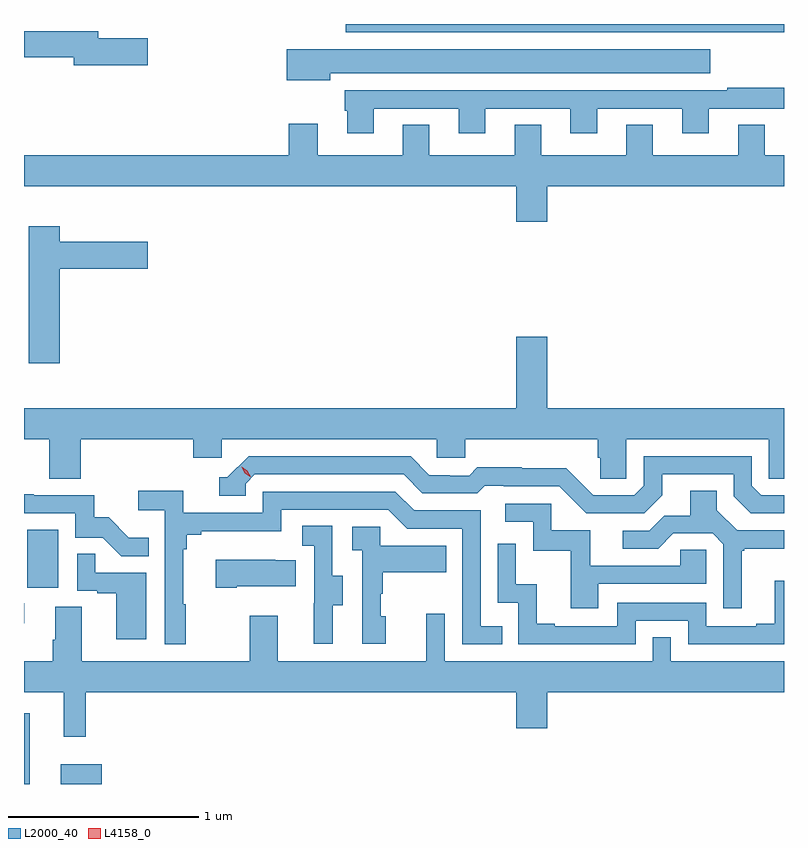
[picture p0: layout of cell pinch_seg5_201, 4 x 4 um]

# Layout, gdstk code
import gdstk
lib = gdstk.Library(unit=1e-6, precision=1e-09)
def R(c, l, rs):  # rectangles x0, y0, x1, y1
    for r in rs: c.add(gdstk.rectangle(r[:2], r[2:], *l))
def P(c, l, *ps):  # polygons
    for p in ps: c.add(gdstk.Polygon(p, *l))
L2000_40 = (2000, 40)
L4158_0 = (4158, 0)

pinch_seg5_201 = lib.new_cell('pinch_seg5_201')
R(pinch_seg5_201, L2000_40, [(1001.577,893.574,1001.608,893.947), (1001.771,893.574,1001.986,893.677), (1001.577,894.42,1001.578,894.525), (1001.594,894.606,1001.758,894.913), (1003.271,897.53,1005.577,897.574)])
P(pinch_seg5_201, L2000_40, [(1002.229,897.5),(1001.968,897.5),(1001.968,897.536),(1001.577,897.536),(1001.577,897.4),(1001.84,897.4),(1001.84,897.358),(1002.229,897.358)],
  [(1003.189,897.314),(1005.19,897.314),(1005.19,897.442),(1002.96,897.442),(1002.96,897.278),(1003.189,897.278)],
  [(1003.417,897.129),(1003.865,897.129),(1003.865,897),(1004.005,897),(1004.005,897.129),(1004.453,897.129),(1004.453,897),(1004.593,897),(1004.593,897.129),(1005.041,897.129),(1005.041,897),(1005.181,897),(1005.181,897.129),(1005.577,897.129),(1005.577,897.238),(1005.277,897.238),(1005.277,897.225),(1003.265,897.225),(1003.265,897.117),(1003.277,897.117),(1003.277,897),(1003.417,897)],
  [(1004.332,896.72),(1005.577,896.72),(1005.577,896.884),(1005.475,896.884),(1005.475,897.044),(1005.335,897.044),(1005.335,896.884),(1004.887,896.884),(1004.887,897.044),(1004.747,897.044),(1004.747,896.884),(1004.299,896.884),(1004.299,897.044),(1004.159,897.044),(1004.159,896.884),(1003.711,896.884),(1003.711,897.044),(1003.571,897.044),(1003.571,896.884),(1003.123,896.884),(1003.123,897.049),(1002.971,897.049),(1002.971,896.884),(1001.577,896.884),(1001.577,896.72),(1004.168,896.72),(1004.168,896.532),(1004.332,896.532)],
  [(1001.764,896.285),(1002.229,896.285),(1002.229,896.427),(1001.764,896.427),(1001.764,896.509),(1001.603,896.509),(1001.603,895.788),(1001.764,895.788)],
  [(1001.876,895.388),(1002.467,895.388),(1002.467,895.29),(1002.618,895.29),(1002.618,895.388),(1003.749,895.388),(1003.749,895.29),(1003.899,895.29),(1003.899,895.388),(1004.597,895.388),(1004.597,895.29),(1004.611,895.29),(1004.611,895.18),(1004.748,895.18),(1004.748,895.388),(1005.498,895.388),(1005.498,895.18),(1005.577,895.18),(1005.577,895.552),(1004.332,895.552),(1004.332,895.927),(1004.168,895.927),(1004.168,895.552),(1001.577,895.552),(1001.577,895.388),(1001.711,895.388),(1001.711,895.18),(1001.876,895.18)],
  [(1004.935,895.093),(1004.935,895.203),(1005.312,895.203),(1005.312,895.089),(1005.402,894.999),(1005.577,894.999),(1005.577,895.095),(1005.456,895.095),(1005.408,895.143),(1005.408,895.299),(1004.838,895.299),(1004.838,895.143),(1004.79,895.095),(1004.574,895.095),(1004.432,895.237),(1004.196,895.237),(1004.196,895.24),(1003.963,895.24),(1003.921,895.197),(1003.818,895.197),(1003.818,895.2),(1003.711,895.2),(1003.612,895.299),(1002.759,895.299),(1002.648,895.188),(1002.605,895.188),(1002.605,895.092),(1002.744,895.092),(1002.744,895.155),(1002.792,895.203),(1003.575,895.203),(1003.674,895.104),(1003.963,895.104),(1004.002,895.143),(1004.101,895.143),(1004.101,895.14),(1004.394,895.14),(1004.535,894.999),(1004.841,894.999)],
  [(1005.355,894.801),(1005.367,894.801),(1005.367,894.812),(1005.577,894.812),(1005.577,894.909),(1005.33,894.909),(1005.223,895.016),(1005.223,895.118),(1005.083,895.118),(1005.083,894.986),(1004.948,894.986),(1004.868,894.906),(1004.727,894.906),(1004.727,894.813),(1004.914,894.813),(1004.995,894.894),(1005.201,894.894),(1005.258,894.837),(1005.258,894.498),(1005.355,894.498)],
  [(1002.427,894.521),(1002.415,894.521),(1002.415,894.809),(1002.434,894.809),(1002.434,894.886),(1002.511,894.886),(1002.511,894.905),(1002.93,894.905),(1002.93,895.017),(1003.494,895.017),(1003.593,894.918),(1003.884,894.918),(1003.884,894.309),(1004.093,894.309),(1004.093,894.405),(1003.98,894.405),(1003.98,895.014),(1003.63,895.014),(1003.531,895.113),(1002.834,895.113),(1002.834,895.002),(1002.416,895.002),(1002.416,895.118),(1002.177,895.118),(1002.177,895.016),(1002.318,895.016),(1002.318,894.309),(1002.427,894.309)],
  [(1002.233,894.871),(1002.129,894.871),(1002.022,894.978),(1001.946,894.978),(1001.946,895.095),(1001.627,895.095),(1001.627,895.1),(1001.577,895.1),(1001.577,894.999),(1001.847,894.999),(1001.847,894.87),(1001.991,894.87),(1002.089,894.772),(1002.233,894.772)],
  [(1004.599,894.627),(1005.168,894.627),(1005.168,894.807),(1005.031,894.807),(1005.031,894.723),(1004.557,894.723),(1004.557,894.909),(1004.352,894.909),(1004.352,895.05),(1004.109,895.05),(1004.109,894.954),(1004.256,894.954),(1004.256,894.801),(1004.455,894.801),(1004.455,894.498),(1004.599,894.498)],
  [(1003.201,894.514),(1003.255,894.514),(1003.255,894.669),(1003.2,894.669),(1003.2,894.932),(1003.041,894.932),(1003.041,894.829),(1003.104,894.829),(1003.104,894.525),(1003.103,894.525),(1003.103,894.312),(1003.201,894.312)],
  [(1003.48,894.456),(1003.455,894.456),(1003.455,894.575),(1003.465,894.575),(1003.465,894.689),(1003.799,894.689),(1003.799,894.829),(1003.452,894.829),(1003.452,894.927),(1003.305,894.927),(1003.305,894.803),(1003.356,894.803),(1003.356,894.312),(1003.48,894.312)],
  [(1004.796,894.432),(1005.072,894.432),(1005.072,894.309),(1005.577,894.309),(1005.577,894.643),(1005.527,894.643),(1005.527,894.418),(1005.431,894.418),(1005.431,894.405),(1005.168,894.405),(1005.168,894.528),(1004.7,894.528),(1004.7,894.405),(1004.371,894.405),(1004.371,894.418),(1004.276,894.418),(1004.276,894.626),(1004.166,894.626),(1004.166,894.838),(1004.07,894.838),(1004.07,894.528),(1004.178,894.528),(1004.178,894.309),(1004.796,894.309)],
  [(1002.22,894.687),(1001.951,894.687),(1001.951,894.785),(1001.856,894.785),(1001.856,894.591),(1001.963,894.591),(1001.963,894.579),(1002.062,894.579),(1002.062,894.336),(1002.22,894.336)],
  [(1002.697,894.614),(1003.007,894.614),(1003.007,894.751),(1002.899,894.751),(1002.899,894.754),(1002.585,894.754),(1002.585,894.607),(1002.697,894.607)],
  [(1004.168,893.868),(1004.332,893.868),(1004.332,894.056),(1005.577,894.056),(1005.577,894.22),(1004.982,894.22),(1004.982,894.347),(1004.886,894.347),(1004.886,894.22),(1003.791,894.22),(1003.791,894.469),(1003.694,894.469),(1003.694,894.22),(1002.913,894.22),(1002.913,894.46),(1002.766,894.46),(1002.766,894.22),(1001.881,894.22),(1001.881,894.506),(1001.741,894.506),(1001.741,894.332),(1001.729,894.332),(1001.729,894.22),(1001.577,894.22),(1001.577,894.056),(1001.786,894.056),(1001.786,893.823),(1001.903,893.823),(1001.903,894.056),(1004.168,894.056)])
P(pinch_seg5_201, L4158_0, [(1002.769,895.19),(1002.739,895.21),(1002.722,895.243),(1002.722,895.243),(1002.723,895.243),(1002.753,895.223),(1002.77,895.191),(1002.77,895.19)])

lib.write_gds('pinch_seg5_201.gds')
